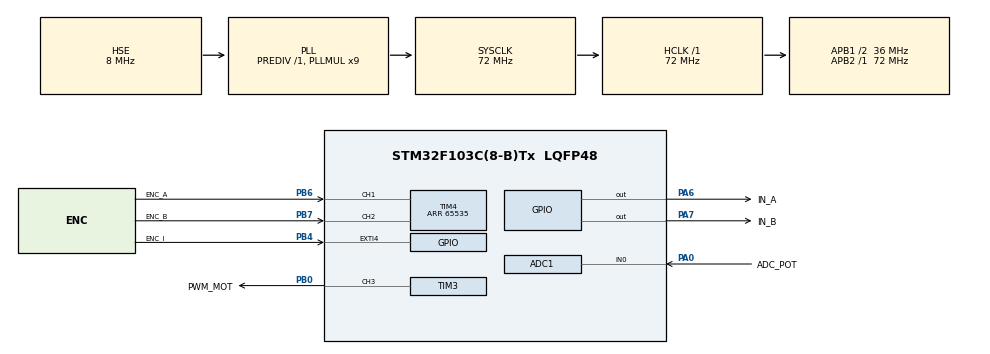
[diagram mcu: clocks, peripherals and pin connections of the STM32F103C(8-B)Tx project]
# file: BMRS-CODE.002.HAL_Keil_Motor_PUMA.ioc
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ADC1.Channel-0\#ChannelRegularConversion=ADC_CHANNEL_0
ADC1.ContinuousConvMode=ENABLE
ADC1.DataAlign=ADC_DATAALIGN_RIGHT
ADC1.DiscontinuousConvMode=DISABLE
ADC1.EnableAnalogWatchDog=false
ADC1.EnableRegularConversion=ENABLE
ADC1.ExternalTrigConv=ADC_SOFTWARE_START
ADC1.InjNumberOfConversion=0
ADC1.NbrOfConversion=1
ADC1.NbrOfConversionFlag=1
ADC1.Rank-0\#ChannelRegularConversion=1
ADC1.SamplingTime-0\#ChannelRegularConversion=ADC_SAMPLETIME_1CYCLE_5
ADC1.ScanConvMode=ADC_SCAN_DISABLE
ADC1.master=1
Dma.ADC1.0.Direction=DMA_PERIPH_TO_MEMORY
Dma.ADC1.0.Instance=DMA1_Channel1
Dma.ADC1.0.MemDataAlignment=DMA_MDATAALIGN_HALFWORD
Dma.ADC1.0.MemInc=DMA_MINC_ENABLE
Dma.ADC1.0.Mode=DMA_CIRCULAR
Dma.ADC1.0.PeriphDataAlignment=DMA_PDATAALIGN_HALFWORD
Dma.ADC1.0.PeriphInc=DMA_PINC_DISABLE
Dma.ADC1.0.Priority=DMA_PRIORITY_MEDIUM
Dma.Request0=ADC1
Mcu.Family=STM32F1
Mcu.Name=STM32F103C(8-B)Tx
Mcu.Package=LQFP48
NVIC.DMA1_Channel1_IRQn=true\:0\:0\:false\:false\:true\:false
NVIC.PriorityGroup=NVIC_PRIORITYGROUP_4
PA0-WKUP.GPIO_Label=ADC_POT
PA0-WKUP.Signal=ADCx_IN0
PA13.Mode=Serial_Wire
PA13.Signal=SYS_JTMS-SWDIO
PA14.Mode=Serial_Wire
PA14.Signal=SYS_JTCK-SWCLK
PA6.GPIO_Label=IN_A
PA6.Signal=GPIO_Output
PA7.GPIO_Label=IN_B
PA7.Signal=GPIO_Output
PB0.GPIO_Label=PWM_MOT
PB0.Signal=S_TIM3_CH3
PB4.GPIO_Label=ENC_I
PB4.Signal=GPXTI4
PB6.GPIO_Label=ENC_A
PB6.Signal=S_TIM4_CH1
PB7.GPIO_Label=ENC_B
PB7.Signal=S_TIM4_CH2
PD0-OSC_IN.Mode=HSE-External-Oscillator
PD0-OSC_IN.Signal=RCC_OSC_IN
PD1-OSC_OUT.Mode=HSE-External-Oscillator
PD1-OSC_OUT.Signal=RCC_OSC_OUT
ProjectManager.HeapSize=0x200
ProjectManager.StackSize=0x400
ProjectManager.TargetToolchain=MDK-ARM V5
RCC.ADCPresc=RCC_ADCPCLK2_DIV6
RCC.AHBFreq_Value=72000000
RCC.APB1CLKDivider=RCC_HCLK_DIV2
RCC.APB1Freq_Value=36000000
RCC.APB1TimFreq_Value=72000000
RCC.APB2Freq_Value=72000000
RCC.APB2TimFreq_Value=72000000
RCC.HCLKFreq_Value=72000000
RCC.PLLMUL=RCC_PLL_MUL9
RCC.PLLSourceVirtual=RCC_PLLSOURCE_HSE
RCC.SYSCLKFreq_VALUE=72000000
RCC.SYSCLKSource=RCC_SYSCLKSOURCE_PLLCLK
RCC.USBFreq_Value=72000000
SH.ADCx_IN0.0=ADC1_IN0,IN0
SH.S_TIM3_CH3.0=TIM3_CH3,PWM Generation3 CH3
SH.S_TIM4_CH1.0=TIM4_CH1,Encoder_Interface
SH.S_TIM4_CH2.0=TIM4_CH2,Encoder_Interface
TIM3.Channel-PWM\ Generation3\ CH3=TIM_CHANNEL_3
TIM3.Period=999
TIM3.Prescaler=74
TIM4.IC1Polarity=TIM_ICPOLARITY_FALLING
TIM4.Period=65535
VP_TIM3_VS_ClockSourceINT.Mode=Internal
board=custom

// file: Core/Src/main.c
/**
  ******************************************************************************
  * @file           : main.c
  * @brief          : Main program body
  ******************************************************************************
  ** This notice applies to any and all portions of this file
  * that are not between comment pairs USER CODE BEGIN and
  * USER CODE END. Other portions of this file, whether
  * inserted by the user or by software development tools
  * are owned by their respective copyright owners.
  *
  * COPYRIGHT(c) 2019 STMicroelectronics
  *
  * Redistribution and use in source and binary forms, with or without modification,
  * are permitted provided that the following conditions are met:
  *   1. Redistributions of source code must retain the above copyright notice,
  *      this list of conditions and the following disclaimer.
  *   2. Redistributions in binary form must reproduce the above copyright notice,
  *      this list of conditions and the following disclaimer in the documentation
  *      and/or other materials provided with the distribution.
  *   3. Neither the name of STMicroelectronics nor the names of its contributors
  *      may be used to endorse or promote products derived from this software
  *      without specific prior written permission.
  *
  * THIS SOFTWARE IS PROVIDED BY THE COPYRIGHT HOLDERS AND CONTRIBUTORS "AS IS"
  * AND ANY EXPRESS OR IMPLIED WARRANTIES, INCLUDING, BUT NOT LIMITED TO, THE
  * IMPLIED WARRANTIES OF MERCHANTABILITY AND FITNESS FOR A PARTICULAR PURPOSE ARE
  * DISCLAIMED. IN NO EVENT SHALL THE COPYRIGHT HOLDER OR CONTRIBUTORS BE LIABLE
  * FOR ANY DIRECT, INDIRECT, INCIDENTAL, SPECIAL, EXEMPLARY, OR CONSEQUENTIAL
  * DAMAGES (INCLUDING, BUT NOT LIMITED TO, PROCUREMENT OF SUBSTITUTE GOODS OR
  * SERVICES; LOSS OF USE, DATA, OR PROFITS; OR BUSINESS INTERRUPTION) HOWEVER
  * CAUSED AND ON ANY THEORY OF LIABILITY, WHETHER IN CONTRACT, STRICT LIABILITY,
  * OR TORT (INCLUDING NEGLIGENCE OR OTHERWISE) ARISING IN ANY WAY OUT OF THE USE
  * OF THIS SOFTWARE, EVEN IF ADVISED OF THE POSSIBILITY OF SUCH DAMAGE.
  *
  ******************************************************************************
  */
#include "main.h"
#include "stm32f1xx_hal.h"
#include "adc.h"
#include "dma.h"
#include "tim.h"
#include "gpio.h"

/* USER CODE BEGIN Includes */
#include "puma.h"
/* USER CODE END Includes */

/* USER CODE BEGIN PV */
/* Private variables ---------------------------------------------------------*/
float velo = 0;
float cur_angle = 0;
float nec_angle = 260;
float angle_error;
/* USER CODE END PV */

void SystemClock_Config(void);

/* USER CODE BEGIN PFP */
/* Private function prototypes -----------------------------------------------*/

/* USER CODE END PFP */

int main(void)
{

  /* MCU Configuration----------------------------------------------------------*/

  /* Reset of all peripherals, Initializes the Flash interface and the Systick. */
  HAL_Init();

  /* Configure the system clock */
  SystemClock_Config();

  /* Initialize all configured peripherals */
  MX_GPIO_Init();
  MX_DMA_Init();
  MX_ADC1_Init();
  MX_TIM4_Init();
  MX_TIM3_Init();
  /* USER CODE BEGIN 2 */
	HAL_TIM_PWM_Start(&htim3, TIM_CHANNEL_3);
	HAL_TIM_Encoder_Start(&htim4, TIM_CHANNEL_ALL);
  Init_StartPosition();
  /* USER CODE END 2 */

  /* Infinite loop */
  /* USER CODE BEGIN WHILE */
  while (1)
  {
		velo = ENC_GetVelocity();

		cur_angle =	POT_GetAngle();
		if (nec_angle >= cur_angle) {
			angle_error = nec_angle - cur_angle;
			Rotation_Right();
		}	else {
			angle_error = cur_angle - nec_angle;
			Rotation_Left();
		}
		Motor_Control(angle_error);
  /* USER CODE END WHILE */

  }

}

void SystemClock_Config(void)
{

  RCC_OscInitTypeDef RCC_OscInitStruct;
  RCC_ClkInitTypeDef RCC_ClkInitStruct;
  RCC_PeriphCLKInitTypeDef PeriphClkInit;

    /**Initializes the CPU, AHB and APB busses clocks
    */
  RCC_OscInitStruct.OscillatorType = RCC_OSCILLATORTYPE_HSE;
  RCC_OscInitStruct.HSEState = RCC_HSE_ON;
  RCC_OscInitStruct.HSEPredivValue = RCC_HSE_PREDIV_DIV1;
  RCC_OscInitStruct.HSIState = RCC_HSI_ON;
  RCC_OscInitStruct.PLL.PLLState = RCC_PLL_ON;
  RCC_OscInitStruct.PLL.PLLSource = RCC_PLLSOURCE_HSE;
  RCC_OscInitStruct.PLL.PLLMUL = RCC_PLL_MUL9;
  if (HAL_RCC_OscConfig(&RCC_OscInitStruct) != HAL_OK)
  {
    _Error_Handler(__FILE__, __LINE__);
  }

    /**Initializes the CPU, AHB and APB busses clocks
    */
  RCC_ClkInitStruct.ClockType = RCC_CLOCKTYPE_HCLK|RCC_CLOCKTYPE_SYSCLK
                              |RCC_CLOCKTYPE_PCLK1|RCC_CLOCKTYPE_PCLK2;
  RCC_ClkInitStruct.SYSCLKSource = RCC_SYSCLKSOURCE_PLLCLK;
  RCC_ClkInitStruct.AHBCLKDivider = RCC_SYSCLK_DIV1;
  RCC_ClkInitStruct.APB1CLKDivider = RCC_HCLK_DIV2;
  RCC_ClkInitStruct.APB2CLKDivider = RCC_HCLK_DIV1;

  if (HAL_RCC_ClockConfig(&RCC_ClkInitStruct, FLASH_LATENCY_2) != HAL_OK)
  {
    _Error_Handler(__FILE__, __LINE__);
  }

  PeriphClkInit.PeriphClockSelection = RCC_PERIPHCLK_ADC;
  PeriphClkInit.AdcClockSelection = RCC_ADCPCLK2_DIV6;
  if (HAL_RCCEx_PeriphCLKConfig(&PeriphClkInit) != HAL_OK)
  {
    _Error_Handler(__FILE__, __LINE__);
  }

    /**Configure the Systick interrupt time
    */
  HAL_SYSTICK_Config(HAL_RCC_GetHCLKFreq()/1000);

    /**Configure the Systick
    */
  HAL_SYSTICK_CLKSourceConfig(SYSTICK_CLKSOURCE_HCLK);

  /* SysTick_IRQn interrupt configuration */
  HAL_NVIC_SetPriority(SysTick_IRQn, 0, 0);
}

void _Error_Handler(char *file, int line)
{
  while(1)
  {
  }
}

/************************ (C) COPYRIGHT STMicroelectronics *****END OF FILE****/
